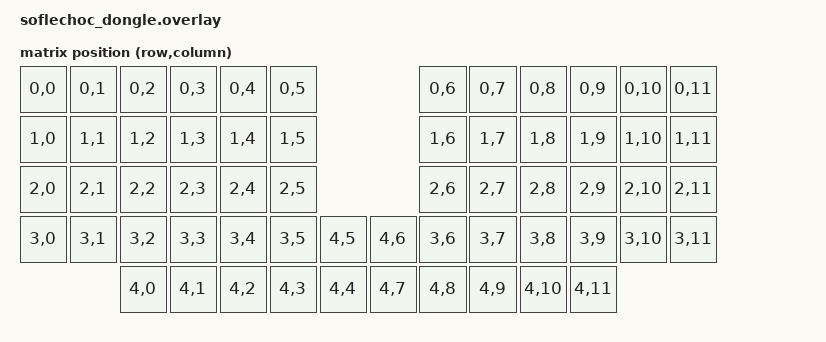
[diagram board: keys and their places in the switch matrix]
/*
 * Dongle build: a keyboard-less central that runs on the Prospector
 * (XIAO nRF52840 + ST7789 screen). It talks to both halves over BLE.
 *
 * The Prospector screen itself comes from the prospector_adapter shield
 * (carrefinho/prospector-zmk-module). This file still needs the pieces
 * ZMK Studio + the shared keymap require:
 * - a physical layout + matrix transform (ZMK Studio BUILD_ASSERT)
 * - sensor stubs so the keymap's sensor-bindings count matches
 * - a stub LED strip so &rgb_ug behavior references resolve; RGB commands
 *   are forwarded to the halves, the dongle drives nothing
 */

#include <dt-bindings/zmk/matrix_transform.h>
#include <layouts/josefadamcik/sofle.dtsi>
#include <dt-bindings/led/led.h>

&josefadamcik_sofle_layout {
    transform = <&default_transform>;
};

/ {
    chosen {
        zmk,kscan = &mock_kscan;
        zmk,physical-layout = &josefadamcik_sofle_layout;
        zmk,underglow = &led_strip;
    };

    mock_kscan: kscan_1 {
        compatible = "zmk,kscan-mock";
        columns = <0>;
        rows = <0>;
        events = <0>;
    };

    default_transform: keymap_transform_0 {
        compatible = "zmk,matrix-transform";
        columns = <12>;
        rows = <5>;
        map = <
            RC(0,0) RC(0,1) RC(0,2) RC(0,3) RC(0,4) RC(0,5)                 RC(0,6) RC(0,7) RC(0,8)  RC(0,9) RC(0,10) RC(0,11)
            RC(1,0) RC(1,1) RC(1,2) RC(1,3) RC(1,4) RC(1,5)                 RC(1,6) RC(1,7) RC(1,8)  RC(1,9) RC(1,10) RC(1,11)
            RC(2,0) RC(2,1) RC(2,2) RC(2,3) RC(2,4) RC(2,5)                 RC(2,6) RC(2,7) RC(2,8)  RC(2,9) RC(2,10) RC(2,11)
            RC(3,0) RC(3,1) RC(3,2) RC(3,3) RC(3,4) RC(3,5) RC(4,5) RC(4,6) RC(3,6) RC(3,7) RC(3,8)  RC(3,9) RC(3,10) RC(3,11)
                            RC(4,0) RC(4,1) RC(4,2) RC(4,3) RC(4,4) RC(4,7) RC(4,8) RC(4,9) RC(4,10) RC(4,11)
        >;
    };

    sensor_stub_left: sensor_stub_left {
        status = "disabled";
    };

    sensor_stub_right: sensor_stub_right {
        status = "disabled";
    };

    sensors: sensors {
        compatible = "zmk,keymap-sensors";
        sensors = <&sensor_stub_left &sensor_stub_right>;
        triggers-per-rotation = <20>;
    };
};

/*
 * Unused SPI instance wired to nothing: CONFIG_ZMK_RGB_UNDERGLOW needs a
 * real zmk,underglow chosen node to compile, even though the dongle has no
 * LEDs. RGB_TOG/HUE/EFF (global-locality behaviors) are forwarded to the
 * halves' real LED strips.
 *
 * SPI instance choice on XIAO nRF52840: instance 1 is TWIM1/i2c1 (enabled
 * by the board and used by the Prospector APDS-9960), instance 2 is
 * disabled by the Prospector adapter overlay, instance 3 drives the ST7789
 * screen. SPI0 is the only free one; its pins go to the unbonded NFC pads
 * (P0.02/P0.03), which nothing else uses.
 */
&pinctrl {
    spi0_default: spi0_default {
        group1 {
            psels = <NRF_PSEL(SPIM_SCK, 0, 3)>,
                    <NRF_PSEL(SPIM_MOSI, 0, 2)>;
        };
    };

    spi0_sleep: spi0_sleep {
        group1 {
            psels = <NRF_PSEL(SPIM_SCK, 0, 3)>,
                    <NRF_PSEL(SPIM_MOSI, 0, 2)>;
            low-power-enable;
        };
    };
};

&spi0 {
    compatible = "nordic,nrf-spim";
    status = "okay";

    pinctrl-0 = <&spi0_default>;
    pinctrl-1 = <&spi0_sleep>;
    pinctrl-names = "default", "sleep";

    led_strip: ws2812@0 {
        compatible = "worldsemi,ws2812-spi";
        reg = <0>;
        spi-max-frequency = <4000000>;
        chain-length = <1>;
        spi-one-frame = <0x70>;
        spi-zero-frame = <0x40>;
        color-mapping = <LED_COLOR_ID_GREEN LED_COLOR_ID_RED LED_COLOR_ID_BLUE>;
    };
};
